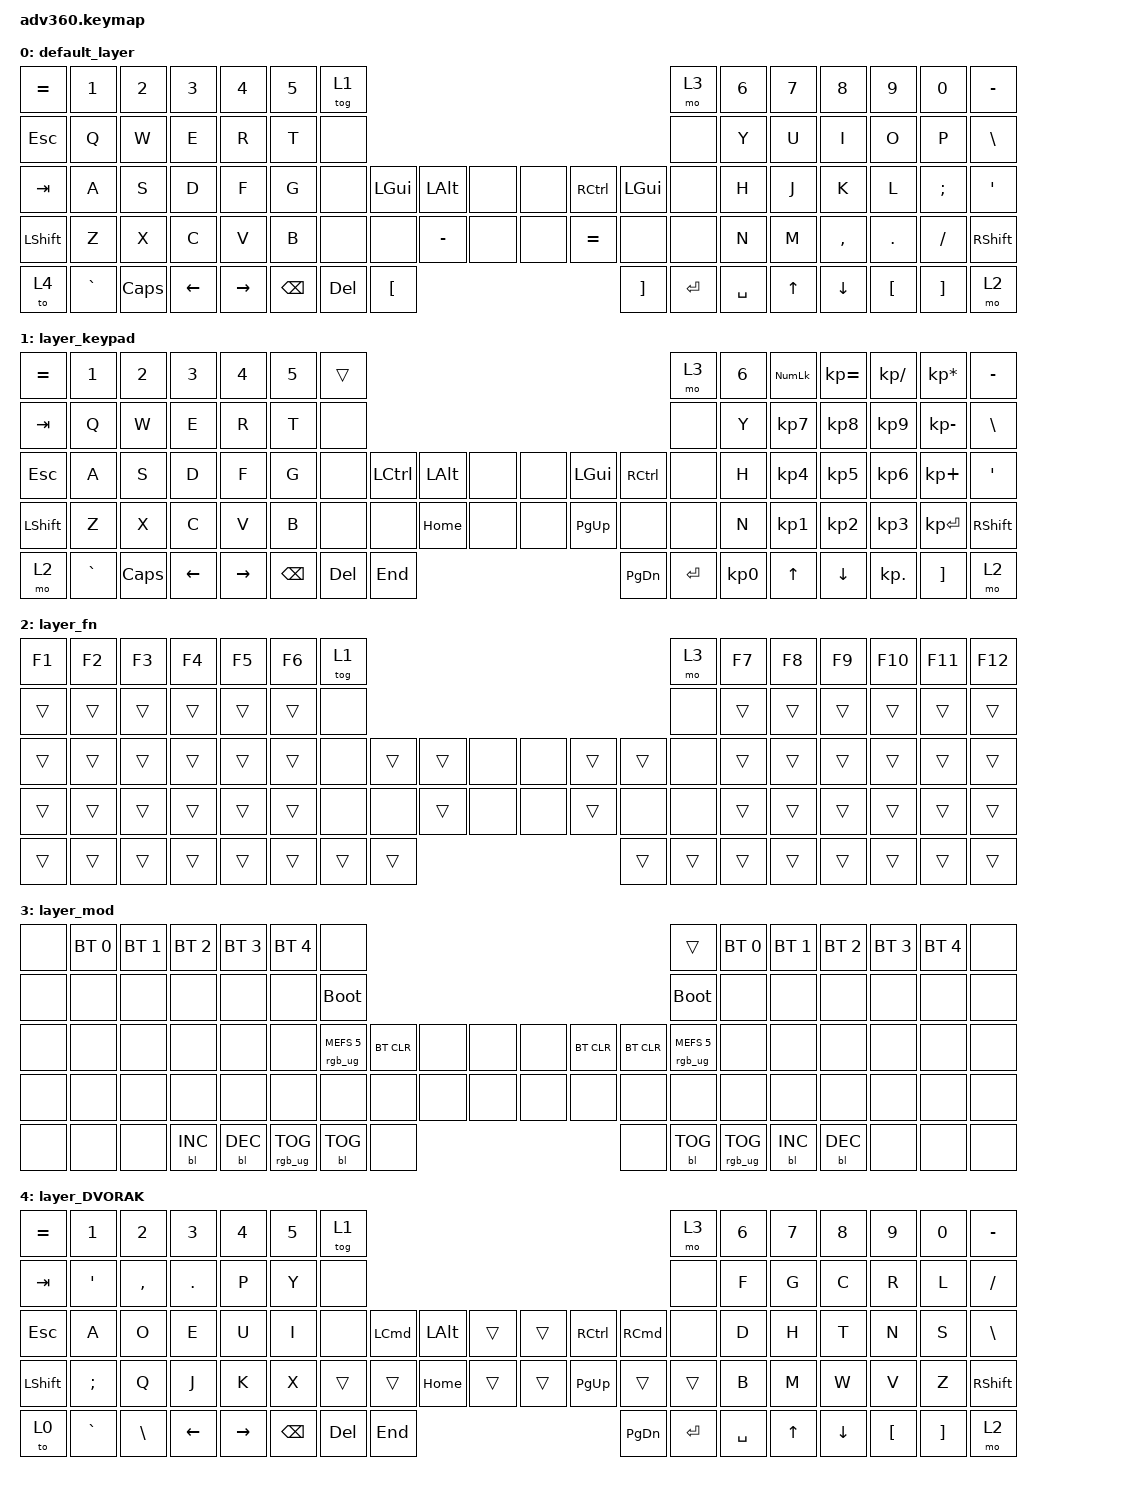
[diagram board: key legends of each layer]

/*
 * Copyright (c) 2020 The ZMK Contributors
 *
 * SPDX-License-Identifier: MIT
 */


/* THIS FILE WAS GENERATED!
 *
 * This file was generated automatically. You may or may not want to
 * edit it directly.
 */

#include <behaviors.dtsi>
#include <dt-bindings/zmk/keys.h>
#include <dt-bindings/zmk/bt.h>
#include <dt-bindings/zmk/rgb.h>
#include <dt-bindings/zmk/backlight.h>

/ {
  behaviors {
    #include "macros.dtsi"

    hm: homerow_mods {
        compatible = "zmk,behavior-hold-tap";
        label = "HOMEROW_MODS";
        #binding-cells = <2>;
        tapping-term-ms = <200>;
        quick_tap_ms = <175>;
        flavor = "tap-preferred";
        bindings = <&kp>, <&kp>;
    };
  };

    keymap {
        compatible = "zmk,keymap";


        default_layer {
            bindings = <
 &kp EQUAL     &kp N1    &kp N2    &kp N3     &kp N4  &kp N5                   &tog 1                                                                   &mo 3  &kp N6  &kp N7     &kp N8    &kp N9    &kp N0  &kp MINUS
   &kp ESC      &kp Q     &kp W     &kp E      &kp R   &kp T                    &none                                                                   &none   &kp Y   &kp U      &kp I     &kp O     &kp P   &kp BSLH
   &kp TAB      &kp A     &kp S     &kp D      &kp F   &kp G                    &none    &kp LGUI   &kp LALT   &none   &none  &kp RCTRL   &kp LGUI      &none   &kp H   &kp J      &kp K     &kp L  &kp SEMI    &kp SQT
 &kp LSHFT      &kp Z     &kp X     &kp C      &kp V   &kp B                    &none       &none  &kp MINUS   &none   &none  &kp EQUAL      &none      &none   &kp N   &kp M  &kp COMMA   &kp DOT  &kp FSLH  &kp RSHFT
     &to 4  &kp GRAVE  &kp CAPS  &kp LEFT  &kp RIGHT                    &kp BACKSPACE  &kp DELETE   &kp LBKT                   &kp RBKT  &kp ENTER  &kp SPACE          &kp UP   &kp DOWN  &kp LBKT  &kp RBKT      &mo 2
            >;
        };

        layer_keypad {
            bindings = <
 &kp EQUAL     &kp N1    &kp N2    &kp N3     &kp N4  &kp N5              &trans                                                                 &mo 3  &kp N6  &kp KP_NUM  &kp KP_EQUAL  &kp KP_DIVIDE  &kp KP_MULTIPLY  &kp MINUS
   &kp TAB      &kp Q     &kp W     &kp E      &kp R   &kp T               &none                                                                 &none   &kp Y   &kp KP_N7     &kp KP_N8      &kp KP_N9     &kp KP_MINUS   &kp BSLH
   &kp ESC      &kp A     &kp S     &kp D      &kp F   &kp G               &none  &kp LCTRL  &kp LALT   &none   &none   &kp LGUI  &kp RCTRL      &none   &kp H   &kp KP_N4     &kp KP_N5      &kp KP_N6      &kp KP_PLUS    &kp SQT
 &kp LSHFT      &kp Z     &kp X     &kp C      &kp V   &kp B               &none      &none  &kp HOME   &none   &none  &kp PG_UP      &none      &none   &kp N   &kp KP_N1     &kp KP_N2      &kp KP_N3     &kp KP_ENTER  &kp RSHFT
     &mo 2  &kp GRAVE  &kp CAPS  &kp LEFT  &kp RIGHT                    &kp BSPC    &kp DEL   &kp END                  &kp PG_DN  &kp ENTER  &kp KP_N0              &kp UP      &kp DOWN     &kp KP_DOT         &kp RBKT      &mo 2
            >;
        };

        layer_fn {
            bindings = <
 &kp F1  &kp F2  &kp F3  &kp F4  &kp F5  &kp F6            &tog 1                                                   &mo 3  &kp F7  &kp F8  &kp F9  &kp F10  &kp F11  &kp F12
 &trans  &trans  &trans  &trans  &trans  &trans             &none                                                   &none  &trans  &trans  &trans   &trans   &trans   &trans
 &trans  &trans  &trans  &trans  &trans  &trans             &none  &trans  &trans   &none   &none  &trans  &trans   &none  &trans  &trans  &trans   &trans   &trans   &trans
 &trans  &trans  &trans  &trans  &trans  &trans             &none   &none  &trans   &none   &none  &trans   &none   &none  &trans  &trans  &trans   &trans   &trans   &trans
 &trans  &trans  &trans  &trans  &trans                    &trans  &trans  &trans                  &trans  &trans  &trans          &trans  &trans   &trans   &trans   &trans
            >;
        };

        layer_mod {
            bindings = <
  &none  &bt BT_SEL 0  &bt BT_SEL 1  &bt BT_SEL 2  &bt BT_SEL 3  &bt BT_SEL 4                             &none                                                                              &trans  &bt BT_SEL 0  &bt BT_SEL 1  &bt BT_SEL 2  &bt BT_SEL 3  &bt BT_SEL 4   &none
  &none         &none         &none         &none         &none         &none                       &bootloader                                                                         &bootloader         &none         &none         &none         &none         &none   &none
  &none         &none         &none         &none         &none         &none            &rgb_ug RGB_MEFS_CMD 5  &bt BT_CLR   &none   &none   &none  &bt BT_CLR  &bt BT_CLR  &rgb_ug RGB_MEFS_CMD 5         &none         &none         &none         &none         &none   &none
  &none         &none         &none         &none         &none         &none                             &none       &none   &none   &none   &none       &none       &none                   &none         &none         &none         &none         &none         &none   &none
  &none         &none         &none    &bl BL_INC    &bl BL_DEC                                 &rgb_ug RGB_TOG  &bl BL_TOG   &none                       &none  &bl BL_TOG         &rgb_ug RGB_TOG                  &bl BL_INC    &bl BL_DEC         &none         &none   &none
            >;
        };

        layer_DVORAK {
            bindings = <
      &kp EQUAL     &kp N1         &kp N2    &kp N3     &kp N4  &kp N5                   &tog 1                                                                    &mo 3  &kp N6        &kp N7          &kp N8            &kp N9             &kp N0      &kp MINUS
        &kp TAB    &kp SQT      &kp COMMA   &kp DOT      &kp P   &kp Y                    &none                                                                    &none   &kp F         &kp G           &kp C             &kp R              &kp L      &kp SLASH
        &kp ESC      &kp A          &kp O     &kp E      &kp U   &kp I                    &none  &kp LCMD  &kp LALT  &trans  &trans      &kp RCTRL   &kp RCMD      &none   &kp D         &kp H           &kp T             &kp N              &kp S  &kp BACKSLASH
 &kp LEFT_SHIFT   &kp SEMI          &kp Q     &kp J      &kp K   &kp X                   &trans    &trans  &kp HOME  &trans  &trans    &kp PAGE_UP     &trans     &trans   &kp B         &kp M           &kp W             &kp V              &kp Z      &kp RSHFT
          &to 0  &kp GRAVE  &kp BACKSLASH  &kp LEFT  &kp RIGHT                    &kp BACKSPACE   &kp DEL   &kp END                  &kp PAGE_DOWN  &kp ENTER  &kp SPACE          &kp UP_ARROW  &kp DOWN_ARROW  &kp LEFT_BRACKET  &kp RIGHT_BRACKET          &mo 2
            >;
        };

    };
};
